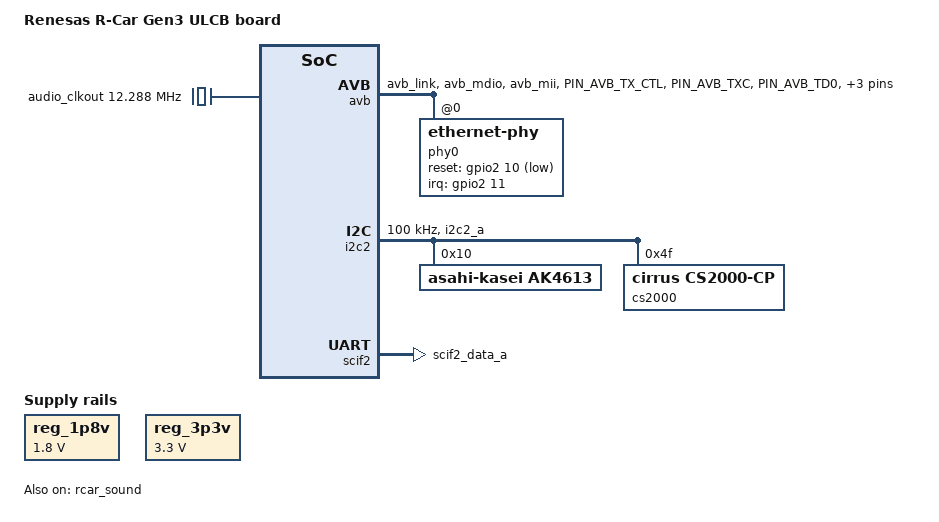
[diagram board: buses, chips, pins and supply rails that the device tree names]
// SPDX-License-Identifier: GPL-2.0
/*
 * Device Tree Source for the R-Car Gen3 ULCB board
 *
 * Copyright (C) 2016 Renesas Electronics Corp.
 * Copyright (C) 2016 Cogent Embedded, Inc.
 */

#include <dt-bindings/gpio/gpio.h>
#include <dt-bindings/input/input.h>

/ {
	model = "Renesas R-Car Gen3 ULCB board";

	aliases {
		serial0 = &scif2;
		ethernet0 = &avb;
	};

	chosen {
		stdout-path = "serial0:115200n8";
	};

	audio_clkout: audio-clkout {
		/*
		 * This is same as <&rcar_sound 0>
		 * but needed to avoid cs2000/rcar_sound probe dead-lock
		 */
		compatible = "fixed-clock";
		#clock-cells = <0>;
		clock-frequency = <12288000>;
	};

	reg_1p8v: regulator0 {
		compatible = "regulator-fixed";
		regulator-name = "fixed-1.8V";
		regulator-min-microvolt = <1800000>;
		regulator-max-microvolt = <1800000>;
		regulator-boot-on;
		regulator-always-on;
	};

	reg_3p3v: regulator1 {
		compatible = "regulator-fixed";
		regulator-name = "fixed-3.3V";
		regulator-min-microvolt = <3300000>;
		regulator-max-microvolt = <3300000>;
		regulator-boot-on;
		regulator-always-on;
	};

	rsnd_ak4613: sound {
		compatible = "simple-audio-card";

		simple-audio-card,format = "left_j";
		simple-audio-card,bitclock-master = <&sndcpu>;
		simple-audio-card,frame-master = <&sndcpu>;

		sndcpu: simple-audio-card,cpu {
			sound-dai = <&rcar_sound>;
		};

		sndcodec: simple-audio-card,codec {
			sound-dai = <&ak4613>;
		};
	};

	x12_clk: x12 {
		compatible = "fixed-clock";
		#clock-cells = <0>;
		clock-frequency = <24576000>;
	};

	x23_clk: x23-clock {
		compatible = "fixed-clock";
		#clock-cells = <0>;
		clock-frequency = <25000000>;
	};
};

&audio_clk_a {
	clock-frequency = <22579200>;
};

&avb {
	pinctrl-0 = <&avb_pins>;
	pinctrl-names = "default";
	phy-handle = <&phy0>;
	phy-mode = "rgmii-txid";
	status = "okay";

	phy0: ethernet-phy@0 {
		rxc-skew-ps = <1500>;
		reg = <0>;
		interrupt-parent = <&gpio2>;
		interrupts = <11 IRQ_TYPE_LEVEL_LOW>;
		reset-gpios = <&gpio2 10 GPIO_ACTIVE_LOW>;
	};
};


&extal_clk {
	clock-frequency = <16666666>;
};

&extalr_clk {
	clock-frequency = <32768>;
};

&i2c2 {
	pinctrl-0 = <&i2c2_pins>;
	pinctrl-names = "default";

	status = "okay";

	clock-frequency = <100000>;

	ak4613: codec@10 {
		compatible = "asahi-kasei,ak4613";
		#sound-dai-cells = <0>;
		reg = <0x10>;
		clocks = <&rcar_sound 3>;

		asahi-kasei,in1-single-end;
		asahi-kasei,in2-single-end;
		asahi-kasei,out1-single-end;
		asahi-kasei,out2-single-end;
		asahi-kasei,out3-single-end;
		asahi-kasei,out4-single-end;
		asahi-kasei,out5-single-end;
		asahi-kasei,out6-single-end;
	};

	cs2000: clk-multiplier@4f {
		#clock-cells = <0>;
		compatible = "cirrus,cs2000-cp";
		reg = <0x4f>;
		clocks = <&audio_clkout>, <&x12_clk>;
		clock-names = "clk_in", "ref_clk";

		assigned-clocks = <&cs2000>;
		assigned-clock-rates = <24576000>; /* 1/1 divide */
	};
};


&pfc {
	pinctrl-0 = <&scif_clk_pins>;
	pinctrl-names = "default";

	avb_pins: avb {
		mux {
			groups = "avb_link", "avb_mdio", "avb_mii";
			function = "avb";
		};

		pins_mdio {
			groups = "avb_mdio";
			drive-strength = <24>;
		};

		pins_mii_tx {
			pins = "PIN_AVB_TX_CTL", "PIN_AVB_TXC", "PIN_AVB_TD0",
			       "PIN_AVB_TD1", "PIN_AVB_TD2", "PIN_AVB_TD3";
			drive-strength = <12>;
		};
	};

	i2c2_pins: i2c2 {
		groups = "i2c2_a";
		function = "i2c2";
	};

	irq0_pins: irq0 {
		groups = "intc_ex_irq0";
		function = "intc_ex";
	};

	scif2_pins: scif2 {
		groups = "scif2_data_a";
		function = "scif2";
	};

	scif_clk_pins: scif_clk {
		groups = "scif_clk_a";
		function = "scif_clk";
	};


	sound_pins: sound {
		groups = "ssi01239_ctrl", "ssi0_data", "ssi1_data_a";
		function = "ssi";
	};

	sound_clk_pins: sound-clk {
		groups = "audio_clk_a_a", "audio_clk_b_a", "audio_clk_c_a",
			 "audio_clkout_a", "audio_clkout3_a";
		function = "audio_clk";
	};

};

&rcar_sound {
	pinctrl-0 = <&sound_pins &sound_clk_pins>;
	pinctrl-names = "default";

	/* Single DAI */
	#sound-dai-cells = <0>;

	/* audio_clkout0/1/2/3 */
	#clock-cells = <1>;
	clock-frequency = <12288000 11289600>;

	status = "okay";

	/* update <audio_clk_b> to <cs2000> */
	clocks = <&cpg CPG_MOD 1005>,
		 <&cpg CPG_MOD 1006>, <&cpg CPG_MOD 1007>,
		 <&cpg CPG_MOD 1008>, <&cpg CPG_MOD 1009>,
		 <&cpg CPG_MOD 1010>, <&cpg CPG_MOD 1011>,
		 <&cpg CPG_MOD 1012>, <&cpg CPG_MOD 1013>,
		 <&cpg CPG_MOD 1014>, <&cpg CPG_MOD 1015>,
		 <&cpg CPG_MOD 1022>, <&cpg CPG_MOD 1023>,
		 <&cpg CPG_MOD 1024>, <&cpg CPG_MOD 1025>,
		 <&cpg CPG_MOD 1026>, <&cpg CPG_MOD 1027>,
		 <&cpg CPG_MOD 1028>, <&cpg CPG_MOD 1029>,
		 <&cpg CPG_MOD 1030>, <&cpg CPG_MOD 1031>,
		 <&cpg CPG_MOD 1020>, <&cpg CPG_MOD 1021>,
		 <&cpg CPG_MOD 1020>, <&cpg CPG_MOD 1021>,
		 <&cpg CPG_MOD 1019>, <&cpg CPG_MOD 1018>,
		 <&audio_clk_a>, <&cs2000>,
		 <&audio_clk_c>,
		 <&cpg CPG_CORE CPG_AUDIO_CLK_I>;

	rcar_sound,dai {
		dai0 {
			playback = <&ssi0 &src0 &dvc0>;
			capture  = <&ssi1 &src1 &dvc1>;
		};
	};
};

&scif2 {
	pinctrl-0 = <&scif2_pins>;
	pinctrl-names = "default";

	status = "okay";
};

&scif_clk {
	clock-frequency = <14745600>;
};


&ssi1 {
	shared-pin;
};

